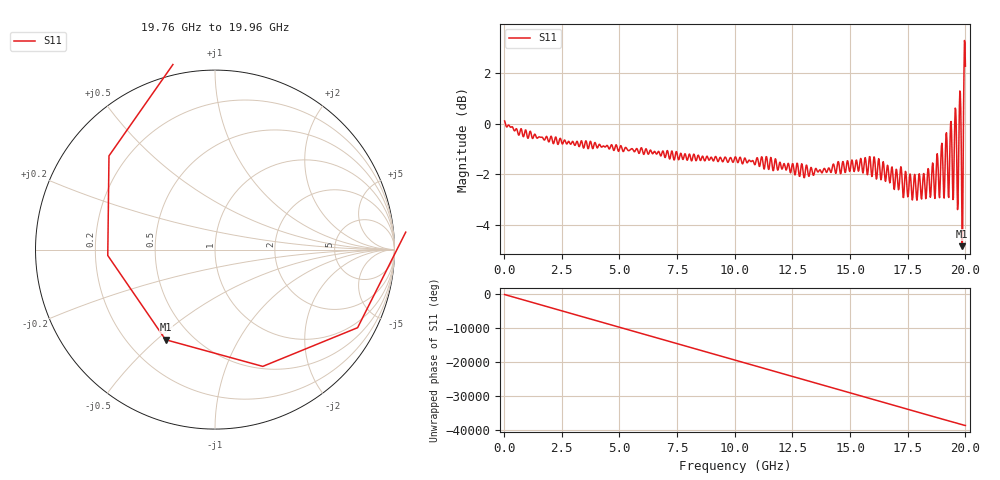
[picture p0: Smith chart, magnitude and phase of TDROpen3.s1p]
! File created by SignalIntegrity v1.3.3: Signal and Power Integrity Tools
! https://github.com/TeledyneLeCroy/SignalIntegrity
# MHz S MA R 50.0
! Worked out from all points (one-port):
!   1000 points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, 20 MHz to 20 GHz, reference 50 ohm
!   lowest |S11| = -4.8 dB at 19.86 GHz (marker M1), VSWR 3.68, Z = 17.9 - j26.7 ohm
!   |S11| at or under -10 dB: nowhere
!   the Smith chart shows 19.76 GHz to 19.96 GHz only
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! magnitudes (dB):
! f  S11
! 20 MHz  0.1
! 580 MHz  -0.3
! 2.52 GHz  -0.8
! 5.02 GHz  -0.9
! 7.52 GHz  -1.3
! 10.02 GHz  -1.3
! 12.52 GHz  -1.6
! 13.3 GHz  -1.7
! 15.02 GHz  -1.7
! 15.96 GHz  -2.1
! 17.52 GHz  -2.9
! 17.8 GHz  -2.0
! 18.5 GHz  -2.8
! 18.58 GHz  -1.5
! 18.88 GHz  -2.9
! 18.98 GHz  -0.8
! 19.08 GHz  -2.9
! 19.18 GHz  -0.4
! 19.28 GHz  -2.9
! 19.38 GHz  0.1
! 19.48 GHz  -2.9
! 19.58 GHz  0.6
! 19.68 GHz  -3.1
! 19.72 GHz  -0.3
! 19.78 GHz  1.2
! 19.86 GHz  -4.8
! 19.94 GHz  2.1
! 20 GHz  2.3
